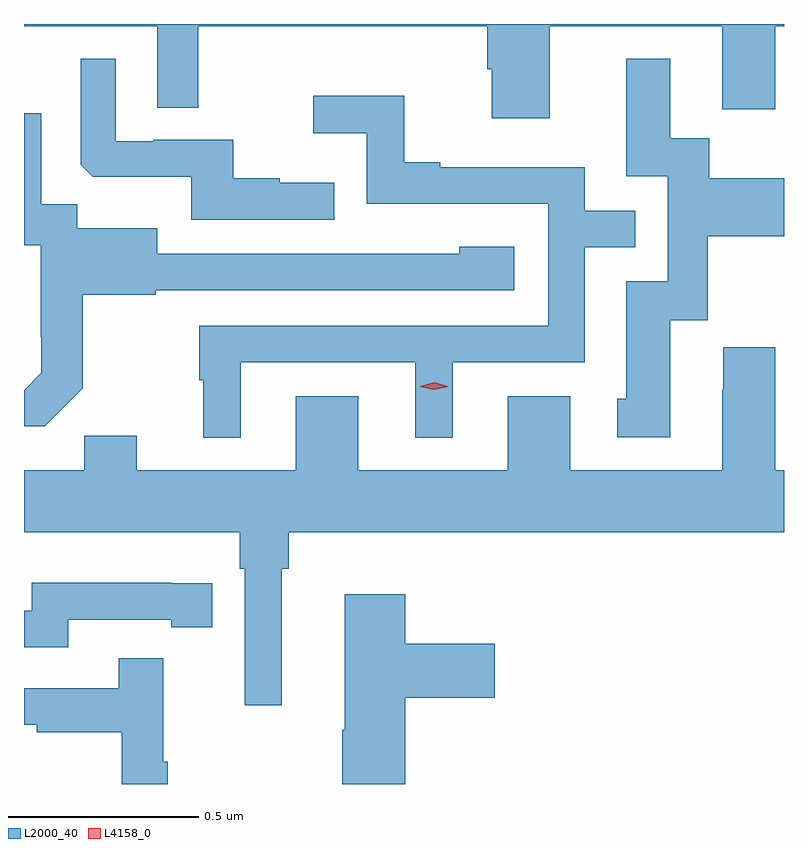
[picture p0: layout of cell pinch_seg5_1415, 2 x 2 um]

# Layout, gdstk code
import gdstk
lib = gdstk.Library(unit=1e-6, precision=1e-09)
def P(c, l, *ps):  # polygons
    for p in ps: c.add(gdstk.Polygon(p, *l))
L2000_40 = (2000, 40)
L4158_0 = (4158, 0)

pinch_seg5_1415 = lib.new_cell('pinch_seg5_1415')
P(pinch_seg5_1415, L2000_40, [(208.501,896.72),(208.955,896.72),(208.955,896.502),(209.095,896.502),(209.095,896.72),(209.118,896.72),(209.118,896.726),(207.118,896.726),(207.118,896.72),(207.468,896.72),(207.468,896.506),(207.577,896.506),(207.577,896.72),(208.337,896.72),(208.337,896.607),(208.349,896.607),(208.349,896.478),(208.501,896.478)],
  [(208.819,895.946),(208.917,895.946),(208.917,896.168),(209.118,896.168),(209.118,896.32),(208.921,896.32),(208.921,896.426),(208.819,896.426),(208.819,896.635),(208.703,896.635),(208.703,896.325),(208.812,896.325),(208.812,896.049),(208.703,896.049),(208.703,895.74),(208.679,895.74),(208.679,895.638),(208.819,895.638)],
  [(207.935,896.308),(207.791,896.308),(207.791,896.32),(207.668,896.32),(207.668,896.421),(207.46,896.421),(207.46,896.418),(207.36,896.418),(207.36,896.635),(207.267,896.635),(207.267,896.355),(207.299,896.324),(207.558,896.324),(207.558,896.211),(207.935,896.211)],
  [(207.688,895.836),(208.148,895.836),(208.148,895.637),(208.246,895.637),(208.246,895.836),(208.593,895.836),(208.593,896.139),(208.727,896.139),(208.727,896.235),(208.593,896.235),(208.593,896.349),(208.213,896.349),(208.213,896.362),(208.119,896.362),(208.119,896.537),(207.879,896.537),(207.879,896.438),(208.02,896.438),(208.02,896.253),(208.497,896.253),(208.497,895.932),(207.579,895.932),(207.579,895.788),(207.59,895.788),(207.59,895.637),(207.688,895.637)],
  [(207.273,895.767),(207.273,896.013),(207.465,896.013),(207.465,896.025),(208.408,896.025),(208.408,896.14),(208.263,896.14),(208.263,896.122),(208.027,896.122),(208.027,896.121),(207.469,896.121),(207.469,896.188),(207.258,896.188),(207.258,896.252),(207.163,896.252),(207.163,896.491),(207.118,896.491),(207.118,896.144),(207.162,896.144),(207.162,895.903),(207.164,895.903),(207.164,895.808),(207.118,895.762),(207.118,895.667),(207.173,895.667)],
  [(207.796,895.292),(207.815,895.292),(207.815,895.388),(209.118,895.388),(209.118,895.552),(209.095,895.552),(209.095,895.876),(208.958,895.876),(208.958,895.763),(208.955,895.763),(208.955,895.552),(208.555,895.552),(208.555,895.747),(208.391,895.747),(208.391,895.552),(207.997,895.552),(207.997,895.747),(207.833,895.747),(207.833,895.552),(207.415,895.552),(207.415,895.643),(207.277,895.643),(207.277,895.552),(207.118,895.552),(207.118,895.388),(207.686,895.388),(207.686,895.292),(207.699,895.292),(207.699,894.933),(207.796,894.933)],
  [(207.234,895.158),(207.506,895.158),(207.506,895.138),(207.614,895.138),(207.614,895.254),(207.506,895.254),(207.506,895.255),(207.138,895.255),(207.138,895.182),(207.118,895.182),(207.118,895.086),(207.234,895.086)],
  [(208.121,894.953),(208.357,894.953),(208.357,895.095),(208.121,895.095),(208.121,895.225),(207.962,895.225),(207.962,894.869),(207.955,894.869),(207.955,894.726),(208.121,894.726)],
  [(207.496,894.785),(207.485,894.785),(207.485,895.057),(207.367,895.057),(207.367,894.978),(207.118,894.978),(207.118,894.882),(207.151,894.882),(207.151,894.862),(207.375,894.862),(207.375,894.726),(207.496,894.726)])
P(pinch_seg5_1415, L4158_0, [(208.197,895.763),(208.161,895.772),(208.161,895.773),(208.161,895.773),(208.197,895.783),(208.233,895.773),(208.233,895.773),(208.233,895.772)])

lib.write_gds('pinch_seg5_1415.gds')
